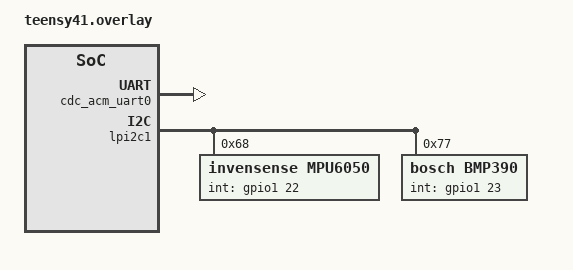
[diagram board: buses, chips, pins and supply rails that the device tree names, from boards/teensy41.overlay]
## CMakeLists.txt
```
# SPDX-License-Identifier: Apache-2.0

cmake_minimum_required(VERSION 3.20.0)

find_package(Zephyr REQUIRED HINTS $ENV{ZEPHYR_BASE})
project(i2c_custom_target)

include(${ZEPHYR_BASE}/samples/subsys/usb/common/common.cmake)
target_sources(app 
	PRIVATE 
		src/console.cpp
		src/mpu6050.cpp
		src/main.cpp
)
```

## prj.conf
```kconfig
CONFIG_I2C=y
CONFIG_I2C_TARGET=y
CONFIG_LOG=y

CONFIG_SENSOR=y

CONFIG_BMP388=y

CONFIG_CPP=y
CONFIG_GPIO=y

CONFIG_USB_DEVICE_STACK=y
CONFIG_USB_DEVICE_PRODUCT="Zephyr USB console sample"
CONFIG_USB_DEVICE_PID=0x0004
CONFIG_USB_DEVICE_INITIALIZE_AT_BOOT=n

CONFIG_SERIAL=y
CONFIG_CONSOLE=y
CONFIG_UART_CONSOLE=y
CONFIG_UART_LINE_CTRL=y
```

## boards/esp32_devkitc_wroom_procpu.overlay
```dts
/*
 * Copyright (c) 2024 Open Pixel Systems
 *
 * SPDX-License-Identifier: Apache-2.0
 */

/*
/ {
	aliases {
		i2c-0 = &i2c0;	
	};
};
//*/

&i2c0 {
	bmp390@77 {
		compatible = "bosch,bmp390";
		reg = <0x77>;
		status = "okay";
		int-gpios = <&gpio0 19 GPIO_ACTIVE_HIGH>;
		label = "BMP390";
		odr = "200";
		osr-press = <1>;
		osr-temp = <1>;
		iir-filter = <3>;
	};
};
```

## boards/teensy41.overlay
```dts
/ {
	chosen {
		zephyr,console = &cdc_acm_uart0;
	};
};

&zephyr_udc0 {
	cdc_acm_uart0: cdc_acm_uart0 {
		compatible = "zephyr,cdc-acm-uart";
	};
};

&lpi2c1 {
	status = "okay";
	mpu6050@68 {
		compatible = "invensense,mpu6050";
		reg = <0x68>;
		status = "okay";
		int-gpios = <&gpio1 22 GPIO_ACTIVE_HIGH>;
	};
	
	bmp390@77 {
		compatible = "bosch,bmp390";
		reg = <0x77>;
		status = "okay";
		int-gpios = <&gpio1 23 GPIO_ACTIVE_HIGH>;
		odr = "200";
		osr-press = <1>;
		osr-temp = <1>;
		iir-filter = <3>;

		label = "BMP390";
	};
};
```

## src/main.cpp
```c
/*
 * Copyright (c) 2024 Open Pixel Systems
 *
 * SPDX-License-Identifier: Apache-2.0
 */

#include <zephyr/kernel.h>
#include <zephyr/sys/printk.h>
#include <zephyr/drivers/i2c.h>
#include <zephyr/drivers/sensor.h>

#include "mpu6050.h"
#include "console.h"

int main(void)
{
	MPU6050 mpu6050 = MPU6050();

	startConsole();
	mpu6050.begin();
	mpu6050.calcGyroOffsets(true);// TODO: figure out what this does

	while(1)
	{
		mpu6050.printConditionedImuData();
		k_sleep(K_SECONDS(1));
	}
	
	return 0;
}
```

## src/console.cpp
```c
/*
 * Copyright (c) 2016 Intel Corporation.
 *
 * SPDX-License-Identifier: Apache-2.0
 */

#include <sample_usbd.h>

#include <zephyr/kernel.h>
#include <zephyr/sys/printk.h>
#include <zephyr/usb/usb_device.h>
#include <zephyr/usb/usbd.h>
#include <zephyr/drivers/uart.h>

BUILD_ASSERT(DT_NODE_HAS_COMPAT(DT_CHOSEN(zephyr_console), zephyr_cdc_acm_uart),
	     "Console device is not ACM CDC UART device");

#if defined(CONFIG_USB_DEVICE_STACK_NEXT)
static struct usbd_context *sample_usbd;

static int enable_usb_device_next(void)
{
	int err;

	sample_usbd = sample_usbd_init_device(NULL);
	if (sample_usbd == NULL) {
		return -ENODEV;
	}

	err = usbd_enable(sample_usbd);
	if (err) {
		return err;
	}

	return 0;
}
#endif /* defined(CONFIG_USB_DEVICE_STACK_NEXT) */

int startConsole(void)
{
	const struct device *const dev = DEVICE_DT_GET(DT_CHOSEN(zephyr_console));
	uint32_t dtr = 0;

#if defined(CONFIG_USB_DEVICE_STACK_NEXT)
	if (enable_usb_device_next()) {
		return 0;
	}
#else
	if (usb_enable(NULL)) {
		return 0;
	}
#endif

	/* Poll if the DTR flag was set */
	while (!dtr) {
		uart_line_ctrl_get(dev, UART_LINE_CTRL_DTR, &dtr);
		/* Give CPU resources to low priority threads. */
		k_sleep(K_MSEC(100));
	}

/*
	while (1) {
		printk("Hello World! %s\n", CONFIG_ARCH);
		k_sleep(K_SECONDS(1));
	}
//*/

	return 0;
}
```

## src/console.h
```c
#ifndef _CONSOLE_H_
#define _CONSOLE_H_

int startConsole(void);

#endif
```

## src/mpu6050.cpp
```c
#include "mpu6050.h"

MPU6050::MPU6050() :
	mpu6050(DEVICE_DT_GET_ONE(invensense_mpu6050)),
	rawTemp(0),
	rawAccX(0), rawAccY(0), rawAccZ(0),
	rawGyroX(0), rawGyroY(0), rawGyroZ(0),
	gyroXoffset(0), gyroYoffset(0), gyroZoffset(0),
	temp(0), 
	accX(0), accY(0), accZ(0), 
	gyroX(0), gyroY(0), gyroZ(0),
	angleGyroX(0), angleGyroY(0), angleGyroZ(0),
	angleAccX(0), angleAccY(0), angleAccZ(0),
	angleX(0), angleY(0), angleZ(0),
	interval(1), // TODO: figure out what this is supposed to be
	preInterval(0),
	accCoef(0.02f), gyroCoef(0.98f)
{
	//startTriggeredImu();
}

MPU6050::MPU6050(double aC, double gC) :
	mpu6050(DEVICE_DT_GET_ONE(invensense_mpu6050))
{
  accCoef = aC;
  gyroCoef = gC;
	startTriggeredImu();
}

K_MUTEX_DEFINE(imu_data_mutex);

sensor_value_t MPU6050::temperature;
sensor_value_t MPU6050::accel[3] = {0};
sensor_value_t MPU6050::gyro[3] = {0};

int MPU6050::getImuData(
		sensor_value_t *ptemperature, sensor_value_t *paccel, sensor_value_t *pgyro, int size)
{
	
	__ASSERT(size==SENSOR_ARRAY_SIZE, "Invalid size, got %d\n", size);

	k_mutex_lock(&imu_data_mutex, K_FOREVER);
	memcpy(ptemperature, &temperature, sizeof(sensor_value_t));	
	memcpy(paccel, accel, size * sizeof(sensor_value_t));	
	memcpy(pgyro, gyro, size * sizeof(sensor_value_t));	
	k_mutex_unlock(&imu_data_mutex);
	
	return 0;
}

int MPU6050::printImuData(void) {
//*
	printf(
		"\n[%s]:\n"
		"  temp %g Cel\n"
		"  accel %f %f %f m/s/s\n"
		"  gyro  %f %f %f rad/s\n",
		now_str(),
		sensor_value_to_double(&temperature),
		sensor_value_to_double(&accel[0]),
		sensor_value_to_double(&accel[1]),
		sensor_value_to_double(&accel[2]),
		sensor_value_to_double(&gyro[0]),
		sensor_value_to_double(&gyro[1]),
		sensor_value_to_double(&gyro[2])
	);
//*/

	return 0;
}

int MPU6050::printImuData(
		sensor_value_t *ptemperature, sensor_value_t *paccel, sensor_value_t *pgyro, int size) 
{
	__ASSERT(size==SENSOR_ARRAY_SIZE, "Invalid size, got %d\n", size);
//*
	printf("\n[%s]:\n"
				 "  temp %g Cel\n"
				 "  accel %f %f %f m/s/s\n"
				 "  gyro  %f %f %f rad/s\n",
				 now_str(),
				 sensor_value_to_double(ptemperature),
				 sensor_value_to_double(&paccel[0]),
				 sensor_value_to_double(&paccel[1]),
				 sensor_value_to_double(&paccel[2]),
				 sensor_value_to_double(&pgyro[0]),
				 sensor_value_to_double(&pgyro[1]),
				 sensor_value_to_double(&pgyro[2]));
//*/

	return 0;
}

int MPU6050::process_mpu6050(const struct device *dev)
{
	
	int rc = sensor_sample_fetch(dev);

	if (rc == 0) 
	{
		rc = sensor_channel_get(dev, SENSOR_CHAN_ACCEL_XYZ, accel);
	}
	if (rc == 0) 
	{
		rc = sensor_channel_get(dev, SENSOR_CHAN_GYRO_XYZ, gyro);
	}
	if (rc == 0) 
	{
		rc = sensor_channel_get(dev, SENSOR_CHAN_DIE_TEMP, &temperature);
	} 

	return rc;
}

static struct sensor_trigger trigger;

void MPU6050::handle_mpu6050_drdy(const struct device *dev, const struct sensor_trigger *trig)
{
	int rc = process_mpu6050(dev);
	
	if (rc != 0) 
	{
		//printf("\n(%d)\n",rc);
		//printf("failure detected: %d\n", rc);
		//(void)sensor_trigger_set(dev, trig, NULL);
		//(void)sensor_trigger_set(dev, trig, handle_mpu6050_drdy);
	} 
}

int MPU6050::startTriggeredImu(void)
{
	while (!device_is_ready(mpu6050)) 
	{
		printf("Device %s is not ready\n", mpu6050->name);
		k_msleep(1000);
	}

	trigger = (struct sensor_trigger)
	{
		.type = SENSOR_TRIG_DATA_READY,
		.chan = SENSOR_CHAN_ALL,
	};

	int ret = 0;
	ret = sensor_trigger_set(mpu6050, &trigger, handle_mpu6050_drdy);
	__ASSERT(ret >= 0, "ERROR %d:Cannot configure trigger!", ret);

	printk("Configured for triggered sampling.\n");

	// triggered runs with its own thread after exit 
	return 0;
}

const char *MPU6050::now_str(void) 
{
	static char buf[16]; /* ...HH:MM:SS.MMM */
	uint32_t now = k_uptime_get_32();
	unsigned int ms = now % MSEC_PER_SEC;
	unsigned int s;
	unsigned int min;
	unsigned int h;

	now /= MSEC_PER_SEC;
	s = now % 60U;
	now /= 60U;
	min = now % 60U;
	now /= 60U;
	h = now;

	snprintf(buf, sizeof(buf), "%u:%02u:%02u.%03u",
		 h, min, s, ms);
	return buf;
}

void MPU6050::begin()
{
  this->update();
  angleGyroX = 0;
  angleGyroY = 0;
  angleX = this->getAccAngleX();
  angleY = this->getAccAngleY();
//  preInterval = millis();
}

void MPU6050::setGyroOffsets(double x, double y, double z)
{
  gyroXoffset = x;
  gyroYoffset = y;
  gyroZoffset = z;
}

void MPU6050::calcGyroOffsets(bool console, uint16_t delayBefore, uint16_t delayAfter)
{
	double x = 0; 
	double y = 0; 
	double z = 0;

  for(int i = 0; i < 3000; i++){
	 	x += gyroX / 65.5;
    y += gyroY / 65.5;
    z += gyroZ / 65.5;
  }
  gyroXoffset = x / 3000;
  gyroYoffset = y / 3000;
  gyroZoffset = z / 3000;
//*/
}

void MPU6050::captureRaw(raw_imu_data_t *data)
{
	k_mutex_lock(&imu_data_mutex, K_FOREVER);
	memcpy(&data->temperature, &temperature, sizeof(sensor_value_t));	
	memcpy(&data->accel, accel, SENSOR_ARRAY_SIZE * sizeof(sensor_value_t));	
	memcpy(&data->gyro, gyro, SENSOR_ARRAY_SIZE * sizeof(sensor_value_t));	
	k_mutex_unlock(&imu_data_mutex);
}

void MPU6050::conditionRaw(raw_imu_data_t *raw_imu_data)
{
  temp = sensor_value_to_double(&raw_imu_data->temperature);
  //temp = (sensor_value_to_double(&raw_temperature) + 12412.0) / 340.0;
  //temp = (rawTemp + 12412.0) / 340.0;

  ///2g = 16384
	//printf("(%0.5f, %0.5f, %0.5f)\n", accX, accY, accZ);
  
	accX = sensor_value_to_double(&raw_imu_data->accel[0]) / 16384.0;
  accY = sensor_value_to_double(&raw_imu_data->accel[1]) / 16384.0;
  accZ = sensor_value_to_double(&raw_imu_data->accel[2]) / 16384.0;

	//printf(" [%0.5f, %0.5f, %0.5f] ", accX, accY, accZ);
  
	///8g = 4096
  //accX = sensor_value_to_double(&raw_accel[0]) / 4096.0;
  //accY = sensor_value_to_double(&raw_accel[1]) / 4096.0;
  //accZ = sensor_value_to_double(&raw_accel[2]) / 4096.0;

  angleAccX = atan2(accY, sqrt(accZ * accZ + accX * accX)) * 360 / 2.0 / PI;
  angleAccY = atan2(accX, sqrt(accZ * accZ + accY * accY)) * 360 / -2.0 / PI;
  
	gyroX = sensor_value_to_double(&raw_imu_data->gyro[0]) / 65.5;
  gyroY = sensor_value_to_double(&raw_imu_data->gyro[1]) / 65.5;
  gyroZ = sensor_value_to_double(&raw_imu_data->gyro[2]) / 65.5;
	
  gyroX -= gyroXoffset;
  gyroY -= gyroYoffset;
  gyroZ -= gyroZoffset;
	
	//printf(" [%0.5f, %0.5f, %0.5f] ", gyroX, gyroY, gyroZ);

  angleGyroX += gyroX * interval;
  angleGyroY += gyroY * interval;
  angleGyroZ += gyroZ * interval;

	//printf(" [%0.5f, %0.5f, %0.5f] ", angleGyroX, angleGyroY, angleGyroZ);
  
	angleX = (gyroCoef * (angleX + gyroX * interval)) + (accCoef * angleAccX);
  angleY = (gyroCoef * (angleY + gyroY * interval)) + (accCoef * angleAccY);
  angleZ = angleGyroZ;

}

//*
void MPU6050::update()
{
	raw_imu_data_t imu_data = {0};
	captureRaw(&imu_data);
	conditionRaw(&imu_data);
}
//*/
/*
void MPU6050::update()
{
	static sensor_value_t raw_temperature;
	static sensor_value_t raw_accel[SENSOR_ARRAY_SIZE];
	static sensor_value_t raw_gyro[SENSOR_ARRAY_SIZE];
	
	//printf("------------------------------------------\n");
	getImuData(&raw_temperature, raw_accel, raw_gyro, SENSOR_ARRAY_SIZE);
	//printImuData(&raw_temperature, raw_accel, raw_gyro, SENSOR_ARRAY_SIZE);

  temp = sensor_value_to_double(&raw_temperature);
  //temp = (sensor_value_to_double(&raw_temperature) + 12412.0) / 340.0;
  //temp = (rawTemp + 12412.0) / 340.0;

  ///2g = 16384
	//printf("(%0.5f, %0.5f, %0.5f)\n", accX, accY, accZ);
  
	accX = sensor_value_to_double(&raw_accel[0]) / 16384.0;
  accY = sensor_value_to_double(&raw_accel[1]) / 16384.0;
  accZ = sensor_value_to_double(&raw_accel[2]) / 16384.0;

	//printf(" [%0.5f, %0.5f, %0.5f] ", accX, accY, accZ);
  
	///8g = 4096
  //accX = sensor_value_to_double(&raw_accel[0]) / 4096.0;
  //accY = sensor_value_to_double(&raw_accel[1]) / 4096.0;
  //accZ = sensor_value_to_double(&raw_accel[2]) / 4096.0;

  angleAccX = atan2(accY, sqrt(accZ * accZ + accX * accX)) * 360 / 2.0 / PI;
  angleAccY = atan2(accX, sqrt(accZ * accZ + accY * accY)) * 360 / -2.0 / PI;
  
	gyroX = sensor_value_to_double(&raw_gyro[0]) / 65.5;
  gyroY = sensor_value_to_double(&raw_gyro[1]) / 65.5;
  gyroZ = sensor_value_to_double(&raw_gyro[2]) / 65.5;
	
  gyroX -= gyroXoffset;
  gyroY -= gyroYoffset;
  gyroZ -= gyroZoffset;
	
	//printf(" [%0.5f, %0.5f, %0.5f] ", gyroX, gyroY, gyroZ);

  angleGyroX += gyroX * interval;
  angleGyroY += gyroY * interval;
  angleGyroZ += gyroZ * interval;

	//printf(" [%0.5f, %0.5f, %0.5f] ", angleGyroX, angleGyroY, angleGyroZ);
  
	angleX = (gyroCoef * (angleX + gyroX * interval)) + (accCoef * angleAccX);
  angleY = (gyroCoef * (angleY + gyroY * interval)) + (accCoef * angleAccY);
  angleZ = angleGyroZ;
}
//*/

void MPU6050::printConditionedImuData(void)
{
	//printf(" (%+5.7f) (%+5.7f, %+5.7f, %+5.7f) (%+5.7f, %+5.7f, %+5.7f)", 
	printf(" (%.2f) (%+.7f, %+.7f, %+.7f) (%+.7f, %+.7f, %+.7f)", 
			temp, accX, accY, accZ, angleX, angleY, angleZ);
	//printf("(%0.5f) (%0.5f, %0.5f, %0.5f) (%0.5f, %0.5f, %0.5f)\n", 
	//temp, accX, accY, accZ, gyroX, gyroY, gyroZ);
}                              
                               
```

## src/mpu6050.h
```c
#ifndef _MPU6050_H_
#define _MPU6050_H_

#include <zephyr/kernel.h>
#include <zephyr/device.h>
#include <zephyr/drivers/sensor.h>
#include <zephyr/timing/timing.h>
#include <stdio.h>
#include <math.h>

#define SENSOR_ARRAY_SIZE 3
#define PI 3.14159265358979323846

typedef struct sensor_value sensor_value_t;
typedef uint8_t byte;

struct raw_imu_data_t
{
	sensor_value_t temperature;
	sensor_value_t accel[SENSOR_ARRAY_SIZE];
	sensor_value_t gyro[SENSOR_ARRAY_SIZE];
};

class MPU6050{
  public:
		MPU6050();
		MPU6050(double aC, double gC);

		void begin();

		const char *now_str(void);
		int printImuData(sensor_value_t  *, sensor_value_t *, sensor_value_t *, int);
		int printImuData(void);
		int getImuData(sensor_value_t  *, sensor_value_t *, sensor_value_t *, int);

		void update();
		
		void setGyroOffsets(double x, double y, double z);
		double getYawOffset(){ return gyroZoffset;}

		int16_t getRawAccX(){ return rawAccX; };
		int16_t getRawAccY(){ return rawAccY; };
		int16_t getRawAccZ(){ return rawAccZ; };

		int16_t getRawTemp(){ return rawTemp; };

		int16_t getRawGyroX(){ return rawGyroX; };
		int16_t getRawGyroY(){ return rawGyroY; };
		int16_t getRawGyroZ(){ return rawGyroZ; };

		double getTemp(){ return temp; };

		double getAccX(){ return accX; };
		double getAccY(){ return accY; };
		double getAccZ(){ return accZ; };

		double getGyroX(){ return gyroX; };
		double getGyroY(){ return gyroY; };
		double getGyroZ(){ return gyroZ; };

		void calcGyroOffsets(
				bool console = false, 
				uint16_t delayBefore = 1000, 
				uint16_t delayAfter = 3000
		);

		double getGyroXoffset(){ return gyroXoffset; };
		double getGyroYoffset(){ return gyroYoffset; };
		double getGyroZoffset(){ return gyroZoffset; };

		double getAccAngleX(){ return angleAccX; };
		double getAccAngleY(){ return angleAccY; };

		double getGyroAngleX(){ return angleGyroX; };
		double getGyroAngleY(){ return angleGyroY; };
		double getGyroAngleZ(){ return angleGyroZ; };

		double getAngleX(){ return angleX; };
		double getAngleY(){ return angleY; };
		double getAngleZ(){ return angleZ; };

		void printConditionedImuData(void);
  private:
		static sensor_value_t temperature;
		static sensor_value_t accel[SENSOR_ARRAY_SIZE];
		static sensor_value_t gyro[SENSOR_ARRAY_SIZE];
		
		const struct device *const mpu6050;

		void captureRaw(raw_imu_data_t *);
		void conditionRaw(raw_imu_data_t *);

		int startTriggeredImu(void);
		static void handle_mpu6050_drdy(const struct device *, const struct sensor_trigger *);
		static int process_mpu6050(const struct device *);

		int16_t rawTemp;
		int16_t rawAccX, rawAccY, rawAccZ; 
		int16_t rawGyroX, rawGyroY, rawGyroZ;

		double gyroXoffset, gyroYoffset, gyroZoffset;

		double temp; 
		double accX, accY, accZ, gyroX, gyroY, gyroZ;

		double angleGyroX, angleGyroY, angleGyroZ;
		double angleAccX, angleAccY, angleAccZ;

		double angleX, angleY, angleZ;

		double interval;
		long preInterval;

		double accCoef, gyroCoef;
};

#endif
```
